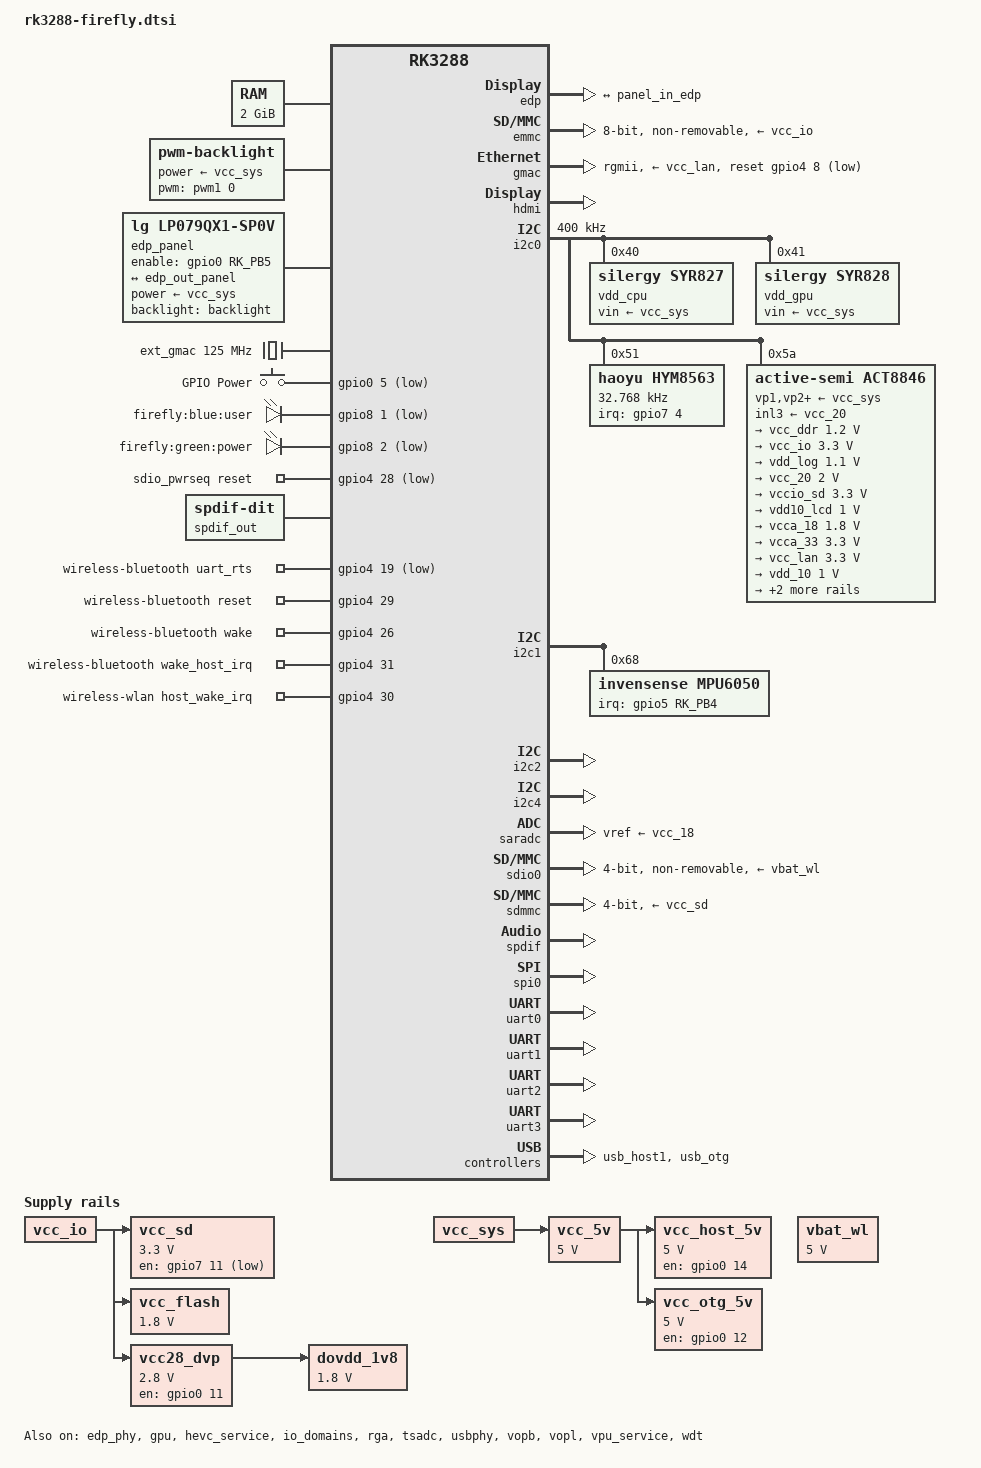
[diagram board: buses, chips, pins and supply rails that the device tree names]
/*
 * Copyright (c) 2014, 2015 FUKAUMI Naoki <naobsd@gmail.com>
 *
 * This file is dual-licensed: you can use it either under the terms
 * of the GPL or the X11 license, at your option. Note that this dual
 * licensing only applies to this file, and not this project as a
 * whole.
 *
 *  a) This file is free software; you can redistribute it and/or
 *     modify it under the terms of the GNU General Public License as
 *     published by the Free Software Foundation; either version 2 of the
 *     License, or (at your option) any later version.
 *
 *     This file is distributed in the hope that it will be useful,
 *     but WITHOUT ANY WARRANTY; without even the implied warranty of
 *     MERCHANTABILITY or FITNESS FOR A PARTICULAR PURPOSE.  See the
 *     GNU General Public License for more details.
 *
 * Or, alternatively,
 *
 *  b) Permission is hereby granted, free of charge, to any person
 *     obtaining a copy of this software and associated documentation
 *     files (the "Software"), to deal in the Software without
 *     restriction, including without limitation the rights to use,
 *     copy, modify, merge, publish, distribute, sublicense, and/or
 *     sell copies of the Software, and to permit persons to whom the
 *     Software is furnished to do so, subject to the following
 *     conditions:
 *
 *     The above copyright notice and this permission notice shall be
 *     included in all copies or substantial portions of the Software.
 *
 *     THE SOFTWARE IS PROVIDED "AS IS", WITHOUT WARRANTY OF ANY KIND,
 *     EXPRESS OR IMPLIED, INCLUDING BUT NOT LIMITED TO THE WARRANTIES
 *     OF MERCHANTABILITY, FITNESS FOR A PARTICULAR PURPOSE AND
 *     NONINFRINGEMENT. IN NO EVENT SHALL THE AUTHORS OR COPYRIGHT
 *     HOLDERS BE LIABLE FOR ANY CLAIM, DAMAGES OR OTHER LIABILITY,
 *     WHETHER IN AN ACTION OF CONTRACT, TORT OR OTHERWISE, ARISING
 *     FROM, OUT OF OR IN CONNECTION WITH THE SOFTWARE OR THE USE OR
 *     OTHER DEALINGS IN THE SOFTWARE.
 */

#include "rk3288.dtsi"

/ {
	memory {
		device_type = "memory";
		reg = <0x0 0x0 0x0 0x80000000>;
	};

	backlight: backlight {
		compatible = "pwm-backlight";
		brightness-levels = <
			  3   4   5   6   7
			  8   9  10  11  12  13  14  15
			 16  17  18  19  20  21  22  23
			 24  25  26  27  28  29  30  31
			 32  33  34  35  36  37  38  39
			 40  41  42  43  44  45  46  47
			 48  49  50  51  52  53  54  55
			 56  57  58  59  60  61  62  63
			 64  65  66  67  68  69  70  71
			 72  73  74  75  76  77  78  79
			 80  81  82  83  84  85  86  87
			 88  89  90  91  92  93  94  95
			 96  97  98  99 100 101 102 103
			104 105 106 107 108 109 110 111
			112 113 114 115 116 117 118 119
			120 121 122 123 124 125 126 127
			128 129 130 131 132 133 134 135
			136 137 138 139 140 141 142 143
			144 145 146 147 148 149 150 151
			152 153 154 155 156 157 158 159
			160 161 162 163 164 165 166 167
			168 169 170 171 172 173 174 175
			176 177 178 179 180 181 182 183
			184 185 186 187 188 189 190 191
			192 193 194 195 196 197 198 199
			200 201 202 203 204 205 206 207
			208 209 210 211 212 213 214 215
			216 217 218 219 220 221 222 223
			224 225 226 227 228 229 230 231
			232 233 234 235 236 237 238 239
			240 241 242 243 244 245 246 247
			248 249 250 251 252 253 254 255>;
		default-brightness-level = <180>;
		pwms = <&pwm1 0 25000 0>;
		pwm-names = "backlight";
		power-supply = <&vcc_sys>;
	};

	edp_panel: edp-panel {
		compatible ="lg,lp079qx1-sp0v";
		power-supply = <&vcc_sys>;
		backlight = <&backlight>;
		enable-gpios = <&gpio0 RK_PB5 GPIO_ACTIVE_HIGH>;

		ports {
			panel_in: port {
				panel_in_edp: endpoint {
					remote-endpoint = <&edp_out_panel>;
				};
			};
		};
	};

	dovdd_1v8: dovdd-1v8-regulator {
		compatible = "regulator-fixed";
		regulator-name = "dovdd_1v8";
		regulator-min-microvolt = <1800000>;
		regulator-max-microvolt = <1800000>;
		vin-supply = <&vcc28_dvp>;
	};

	ext_gmac: external-gmac-clock {
		compatible = "fixed-clock";
		#clock-cells = <0>;
		clock-frequency = <125000000>;
		clock-output-names = "ext_gmac";
	};

	ir: ir-receiver {
		compatible = "gpio-ir-receiver";
		pinctrl-names = "default";
		pinctrl-0 = <&ir_int>;
	};

	keys: gpio-keys {
		compatible = "gpio-keys";
		#address-cells = <1>;
		#size-cells = <0>;

		button@0 {
			gpio-key,wakeup = <1>;
			gpios = <&gpio0 5 GPIO_ACTIVE_LOW>;
			label = "GPIO Power";
			linux,code = <116>;
			pinctrl-names = "default";
			pinctrl-0 = <&pwr_key>;
		};
	};

	leds {
		compatible = "gpio-leds";

		work {
			gpios = <&gpio8 1 GPIO_ACTIVE_LOW>;
			label = "firefly:blue:user";
			linux,default-trigger = "rc-feedback";
			pinctrl-names = "default";
			pinctrl-0 = <&work_led>;
		};

		power {
			gpios = <&gpio8 2 GPIO_ACTIVE_LOW>;
			label = "firefly:green:power";
			linux,default-trigger = "default-on";
			pinctrl-names = "default";
			pinctrl-0 = <&power_led>;
		};
	};

	sdio_pwrseq: sdio-pwrseq {
		compatible = "mmc-pwrseq-simple";
		clocks = <&hym8563>;
		clock-names = "ext_clock";
		pinctrl-names = "default";
		pinctrl-0 = <&wifi_enable_h>;

		/*
		 * On the module itself this is one of these (depending
		 * on the actual card populated):
		 * - SDIO_RESET_L_WL_REG_ON
		 * - PDN (power down when low)
		 */
		reset-gpios = <&gpio4 28 GPIO_ACTIVE_LOW>;
	};

	sound {
		compatible = "simple-audio-card";
		simple-audio-card,name = "SPDIF";
		simple-audio-card,dai-link@1 {
			cpu { sound-dai = <&spdif>; };
			codec { sound-dai = <&spdif_out>; };
		};
	};

	spdif_out: spdif-out {
		compatible = "linux,spdif-dit";
		#sound-dai-cells = <0>;
	};

	vbat_wl: vcc_sys: vsys-regulator {
		compatible = "regulator-fixed";
		regulator-name = "vcc_sys";
		regulator-min-microvolt = <5000000>;
		regulator-max-microvolt = <5000000>;
		regulator-always-on;
		regulator-boot-on;
	};

	vcc_sd: sdmmc-regulator {
		compatible = "regulator-fixed";
		gpio = <&gpio7 11 GPIO_ACTIVE_LOW>;
		pinctrl-names = "default";
		pinctrl-0 = <&sdmmc_pwr>;
		regulator-name = "vcc_sd";
		regulator-min-microvolt = <3300000>;
		regulator-max-microvolt = <3300000>;
		startup-delay-us = <100000>;
		vin-supply = <&vcc_io>;
	};

	vcc_flash: flash-regulator {
		compatible = "regulator-fixed";
		regulator-name = "vcc_flash";
		regulator-min-microvolt = <1800000>;
		regulator-max-microvolt = <1800000>;
		vin-supply = <&vcc_io>;
	};

	vcc_5v: usb-regulator {
		compatible = "regulator-fixed";
		regulator-name = "vcc_5v";
		regulator-min-microvolt = <5000000>;
		regulator-max-microvolt = <5000000>;
		regulator-always-on;
		regulator-boot-on;
		vin-supply = <&vcc_sys>;
	};

	vcc_host_5v: usb-host-regulator {
		compatible = "regulator-fixed";
		enable-active-high;
		gpio = <&gpio0 14 GPIO_ACTIVE_HIGH>;
		pinctrl-names = "default";
		pinctrl-0 = <&host_vbus_drv>;
		regulator-name = "vcc_host_5v";
		regulator-min-microvolt = <5000000>;
		regulator-max-microvolt = <5000000>;
		regulator-always-on;
		vin-supply = <&vcc_5v>;
	};

	vcc_otg_5v: usb-otg-regulator {
		compatible = "regulator-fixed";
		enable-active-high;
		gpio = <&gpio0 12 GPIO_ACTIVE_HIGH>;
		pinctrl-names = "default";
		pinctrl-0 = <&otg_vbus_drv>;
		regulator-name = "vcc_otg_5v";
		regulator-min-microvolt = <5000000>;
		regulator-max-microvolt = <5000000>;
		regulator-always-on;
		vin-supply = <&vcc_5v>;
	};

	/*
	 * A TT8142 creates both dovdd_1v8 and vcc28_dvp, controlled
	 * by the dvp_pwr pin.
	 */
	vcc28_dvp: vcc28-dvp-regulator {
		compatible = "regulator-fixed";
		enable-active-high;
		gpio = <&gpio0 11 GPIO_ACTIVE_HIGH>;
		pinctrl-names = "default";
		pinctrl-0 = <&dvp_pwr>;
		regulator-name = "vcc28_dvp";
		regulator-min-microvolt = <2800000>;
		regulator-max-microvolt = <2800000>;
		regulator-always-on;
		vin-supply = <&vcc_io>;
	};

	wireless-bluetooth {
		compatible = "bluetooth-platdata";
		uart_rts_gpios = <&gpio4 19 GPIO_ACTIVE_LOW>;
		pinctrl-names = "default", "rts_gpio";
		pinctrl-0 = <&uart0_rts>;
		pinctrl-1 = <&uart0_gpios>;
		BT,reset_gpio    = <&gpio4 29 GPIO_ACTIVE_HIGH>;
		BT,wake_gpio     = <&gpio4 26 GPIO_ACTIVE_HIGH>;
		BT,wake_host_irq = <&gpio4 31 GPIO_ACTIVE_HIGH>;
		status = "okay";
	};

	wireless-wlan {
		compatible = "wlan-platdata";
		rockchip,grf = <&grf>;
		wifi_chip_type = "ap6335";
		sdio_vref = <1800>;
		WIFI,host_wake_irq = <&gpio4 30 GPIO_ACTIVE_HIGH>;
		status = "okay";
	};
};

&cpu0 {
	cpu0-supply = <&vdd_cpu>;
};

&edp {
	vcc-supply = <&vdd_10>;
	vccio-supply = <&vcc_18>;
	force-hpd;
	status = "okay";

	ports {
		edp_out: port@1 {
			reg = <1>;
			#address-cells = <1>;
			#size-cells = <0>;
			edp_out_panel: endpoint {
				reg = <0>;
				remote-endpoint = <&panel_in_edp>;
			};
		};
	};
};

&edp_phy {
	status = "okay";
};

&emmc {
	bus-width = <8>;
	cap-mmc-highspeed;
	disable-wp;
	non-removable;
	num-slots = <1>;
	pinctrl-names = "default";
	pinctrl-0 = <&emmc_clk>, <&emmc_cmd>, <&emmc_pwr>, <&emmc_bus8>;
	vmmc-supply = <&vcc_io>;
	vqmmc-supply = <&vcc_flash>;
	status = "okay";
};

&gmac {
	assigned-clocks = <&cru SCLK_MAC>;
	assigned-clock-parents = <&ext_gmac>;
	clock_in_out = "input";
	pinctrl-names = "default";
	pinctrl-0 = <&rgmii_pins>, <&phy_rst>, <&phy_pmeb>, <&phy_int>;
	phy-supply = <&vcc_lan>;
	phy-mode = "rgmii";
	snps,reset-active-low;
	snps,reset-delays-us = <0 10000 1000000>;
	snps,reset-gpio = <&gpio4 8 GPIO_ACTIVE_LOW>;
	tx_delay = <0x30>;
	rx_delay = <0x10>;
	status = "ok";
};

&gpu {
	mali-supply = <&vdd_gpu>;
	status = "okay";
};

&hdmi {
	status = "okay";
};

&hevc_service {
	status = "okay";

};

&i2c0 {
	clock-frequency = <400000>;
	status = "okay";

	vdd_cpu: syr827@40 {
		compatible = "silergy,syr827";
		fcs,suspend-voltage-selector = <1>;
		reg = <0x40>;
		regulator-name = "vdd_cpu";
		regulator-min-microvolt = <850000>;
		regulator-max-microvolt = <1350000>;
		regulator-always-on;
		regulator-boot-on;
		regulator-enable-ramp-delay = <300>;
		regulator-ramp-delay = <8000>;
		vin-supply = <&vcc_sys>;
	};

	vdd_gpu: syr828@41 {
		compatible = "silergy,syr828";
		fcs,suspend-voltage-selector = <1>;
		reg = <0x41>;
		regulator-name = "vdd_gpu";
		regulator-min-microvolt = <850000>;
		regulator-max-microvolt = <1350000>;
		regulator-always-on;
		regulator-ramp-delay = <6000>;
		vin-supply = <&vcc_sys>;
	};

	hym8563: hym8563@51 {
		compatible = "haoyu,hym8563";
		reg = <0x51>;
		#clock-cells = <0>;
		clock-frequency = <32768>;
		clock-output-names = "xin32k";
		interrupt-parent = <&gpio7>;
		interrupts = <4 IRQ_TYPE_EDGE_FALLING>;
		pinctrl-names = "default";
		pinctrl-0 = <&rtc_int>;
	};

	act8846: act8846@5a {
		compatible = "active-semi,act8846";
		reg = <0x5a>;
		pinctrl-names = "default";
		pinctrl-0 = <&pmic_vsel>, <&pwr_hold>;
		system-power-controller;

		vp1-supply = <&vcc_sys>;
		vp2-supply = <&vcc_sys>;
		vp3-supply = <&vcc_sys>;
		vp4-supply = <&vcc_sys>;
		inl1-supply = <&vcc_sys>;
		inl2-supply = <&vcc_sys>;
		inl3-supply = <&vcc_20>;

		regulators {
			vcc_ddr: REG1 {
				regulator-name = "vcc_ddr";
				regulator-min-microvolt = <1200000>;
				regulator-max-microvolt = <1200000>;
				regulator-always-on;
			};

			vcc_io: REG2 {
				regulator-name = "vcc_io";
				regulator-min-microvolt = <3300000>;
				regulator-max-microvolt = <3300000>;
				regulator-always-on;
			};

			vdd_log: REG3 {
				regulator-name = "vdd_log";
				regulator-min-microvolt = <1100000>;
				regulator-max-microvolt = <1100000>;
				regulator-always-on;
			};

			vcc_20: REG4 {
				regulator-name = "vcc_20";
				regulator-min-microvolt = <2000000>;
				regulator-max-microvolt = <2000000>;
				regulator-always-on;
			};

			vccio_sd: REG5 {
				regulator-name = "vccio_sd";
				regulator-min-microvolt = <3300000>;
				regulator-max-microvolt = <3300000>;
				regulator-always-on;
			};

			vdd10_lcd: REG6 {
				regulator-name = "vdd10_lcd";
				regulator-min-microvolt = <1000000>;
				regulator-max-microvolt = <1000000>;
				regulator-always-on;
			};

			vcca_18: REG7 {
				regulator-name = "vcca_18";
				regulator-min-microvolt = <1800000>;
				regulator-max-microvolt = <1800000>;
			};

			vcca_33: REG8 {
				regulator-name = "vcca_33";
				regulator-min-microvolt = <3300000>;
				regulator-max-microvolt = <3300000>;
				regulator-always-on;
			};

			vcc_lan: REG9 {
				regulator-name = "vcc_lan";
				regulator-min-microvolt = <3300000>;
				regulator-max-microvolt = <3300000>;
			};

			vdd_10: REG10 {
				regulator-name = "vdd_10";
				regulator-min-microvolt = <1000000>;
				regulator-max-microvolt = <1000000>;
				regulator-always-on;
			};

			vccio_wl: vcc_18: REG11 {
				regulator-name = "vcc_18";
				regulator-min-microvolt = <1800000>;
				regulator-max-microvolt = <1800000>;
				regulator-always-on;
			};

			vcc18_lcd: REG12 {
				regulator-name = "vcc18_lcd";
				regulator-min-microvolt = <1800000>;
				regulator-max-microvolt = <1800000>;
				regulator-always-on;
			};
		};
	};
};

&i2c1 {
	status = "okay";

	mpu6050@68 {
		compatible = "invensense,mpu6050";
		reg = <0x68>;
		interrupt-parent = <&gpio5>;
		interrupts = <RK_PB4 IRQ_TYPE_LEVEL_LOW>;
		mount-matrix = "0",
			       "1",
			       "0",
			       "-1",
			       "0",
			       "0",
			       "0",
			       "0",
			       "-1";
	};
};

&i2c2 {
	status = "okay";
};

&i2c4 {
	status = "okay";
};

&io_domains {
	status = "okay";

	audio-supply = <&vcca_33>;
	bb-supply = <&vcc_io>;
	dvp-supply = <&dovdd_1v8>;
	flash0-supply = <&vcc_flash>;
	flash1-supply = <&vcc_lan>;
	gpio30-supply = <&vcc_io>;
	gpio1830-supply = <&vcc_io>;
	lcdc-supply = <&vcc_io>;
	sdcard-supply = <&vccio_sd>;
	wifi-supply = <&vccio_wl>;
};

&rga {
	status = "okay";
};

&pinctrl {
	pcfg_output_high: pcfg-output-high {
		output-high;
	};

	pcfg_output_low: pcfg-output-low {
		output-low;
	};

	pcfg_pull_none_drv_8ma: pcfg-pull-none-drv-8ma {
		drive-strength = <8>;
	};

	pcfg_pull_up_drv_8ma: pcfg-pull-up-drv-8ma {
		bias-pull-up;
		drive-strength = <8>;
	};

	act8846 {
		pwr_hold: pwr-hold {
			rockchip,pins = <0 1 RK_FUNC_GPIO &pcfg_output_high>;
		};
	};

	dvp {
		dvp_pwr: dvp-pwr {
			rockchip,pins = <0 11 RK_FUNC_GPIO &pcfg_pull_none>;
		};
	};

	gmac {
		phy_int: phy-int {
			rockchip,pins = <0 9 RK_FUNC_GPIO &pcfg_pull_up>;
		};

		phy_pmeb: phy-pmeb {
			rockchip,pins = <0 8 RK_FUNC_GPIO &pcfg_pull_up>;
		};

		phy_rst: phy-rst {
			rockchip,pins = <4 8 RK_FUNC_GPIO &pcfg_output_high>;
		};
	};

	hym8563 {
		rtc_int: rtc-int {
			rockchip,pins = <7 4 RK_FUNC_GPIO &pcfg_pull_up>;
		};
	};

	keys {
		pwr_key: pwr-key {
			rockchip,pins = <0 5 RK_FUNC_GPIO &pcfg_pull_up>;
		};
	};

	leds {
		power_led: power-led {
			rockchip,pins = <8 2 RK_FUNC_GPIO &pcfg_pull_none>;
		};

		work_led: work-led {
			rockchip,pins = <8 1 RK_FUNC_GPIO &pcfg_pull_none>;
		};
	};

	sdio-pwrseq {
		wifi_enable_h: wifi-enable-h {
			rockchip,pins = <4 28 RK_FUNC_GPIO &pcfg_pull_none>;
		};
	};

	sdmmc {
		/*
		 * Default drive strength isn't enough to achieve even
		 * high-speed mode on firefly board so bump up to 8ma.
		 */
		sdmmc_bus4: sdmmc-bus4 {
			rockchip,pins = <6 16 RK_FUNC_1 &pcfg_pull_up_drv_8ma>,
					<6 17 RK_FUNC_1 &pcfg_pull_up_drv_8ma>,
					<6 18 RK_FUNC_1 &pcfg_pull_up_drv_8ma>,
					<6 19 RK_FUNC_1 &pcfg_pull_up_drv_8ma>;
		};

		sdmmc_clk: sdmmc-clk {
			rockchip,pins = <6 20 RK_FUNC_1 &pcfg_pull_none_drv_8ma>;
		};

		sdmmc_cmd: sdmmc-cmd {
			rockchip,pins = <6 21 RK_FUNC_1 &pcfg_pull_up_drv_8ma>;
		};

		sdmmc_pwr: sdmmc-pwr {
			rockchip,pins = <7 11 RK_FUNC_GPIO &pcfg_pull_none>;
		};
	};

	usb_host {
		host_vbus_drv: host-vbus-drv {
			rockchip,pins = <0 14 RK_FUNC_GPIO &pcfg_pull_none>;
		};

		usbhub_rst: usbhub-rst {
			rockchip,pins = <8 3 RK_FUNC_GPIO &pcfg_output_high>;
		};
	};

	usb_otg {
		otg_vbus_drv: otg-vbus-drv {
			rockchip,pins = <0 12 RK_FUNC_GPIO &pcfg_pull_none>;
		};
	};

	wireless-bluetooth {
		uart0_gpios: uart0-gpios {
			rockchip,pins = <4 19 RK_FUNC_GPIO &pcfg_pull_none>;
		};
	};
};

&saradc {
	vref-supply = <&vcc_18>;
	status = "okay";
};

&sdio0 {
	clock-frequency = <50000000>;
	clock-freq-min-max = <200000 50000000>;

	bus-width = <4>;
	cap-sd-highspeed;
	cap-sdio-irq;
	disable-wp;
	keep-power-in-suspend;
	mmc-pwrseq = <&sdio_pwrseq>;
	non-removable;
	num-slots = <1>;
	pinctrl-names = "default";
	pinctrl-0 = <&sdio0_bus4 &sdio0_cmd &sdio0_clk &sdio0_int>;
	sd-uhs-sdr104;
	supports-sdio;
	vmmc-supply = <&vbat_wl>;
	vqmmc-supply = <&vccio_wl>;
	status = "okay";
};

&sdmmc {
	bus-width = <4>;
	cap-mmc-highspeed;
	cap-sd-highspeed;
	card-detect-delay = <200>;
	disable-wp;
	num-slots = <1>;
	pinctrl-names = "default";
	pinctrl-0 = <&sdmmc_clk>, <&sdmmc_cmd>, <&sdmmc_cd>, <&sdmmc_bus4>;
	supports-sd;
	vmmc-supply = <&vcc_sd>;
	vqmmc-supply = <&vccio_sd>;
	status = "okay";
};

&spdif {
	status = "okay";
};

&spi0 {
	pinctrl-names = "default";
	pinctrl-0 = <&spi0_clk>, <&spi0_cs0>, <&spi0_tx>, <&spi0_rx>, <&spi0_cs1>;
	status = "okay";
};

&tsadc {
	rockchip,hw-tshut-polarity = <0>;
	status = "okay";
};

&uart0 {
	pinctrl-names = "default";
	pinctrl-0 = <&uart0_xfer>, <&uart0_cts>;
	status = "okay";
};

&uart1 {
	status = "okay";
};

&uart2 {
	status = "okay";
};

&uart3 {
	status = "okay";
};

&usbphy {
	status = "okay";
};

&usb_host1 {
	pinctrl-names = "default";
	pinctrl-0 = <&usbhub_rst>;
	status = "okay";
};

&usb_otg {
	status = "okay";
};

&vopb {
	status = "okay";
};

&vopb_mmu {
	status = "okay";
};

&vopl {
	status = "okay";
};

&vopl_mmu {
	status = "okay";
};

&vpu_service {
	status = "okay";
};

&wdt {
	status = "okay";
};
